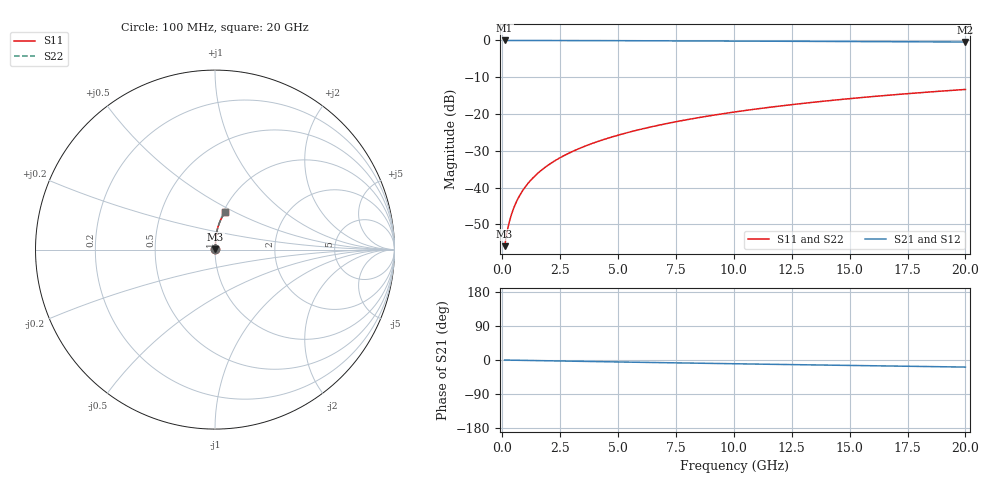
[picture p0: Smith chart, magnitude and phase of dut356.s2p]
! Touchstone file exported from HFSS 2024.1.0
!  File:  C:/UserFiles/LocalFiles/RDL_TSV_Batchsim/temp_RDL_top_356_1779608352.aedt
!  Generated:  03:41:27 PM May 24, 2026
!  Design:  RDL_top
!  Project:  temp_RDL_top_356_1779608352
!  Setup:  Setup1
!  Solution:  Sweep
! Variables:
!  dtsv = 10.80580581um
!  hbump = 3um
!  htsv = 97.62um
!  ldown = 100um
!  lrdl = 222.95um
!  p = 40
!  p1 = 50.23um
!  rhole = 1um
!  t = 450um
!  tdown = 3.915915916um
!  trdl = 4.23um
!  wdown = 15.38538539um
!  wrdl = 18.24um
# GHz S MA R 50.000000
! Terminal data exported
! Port[1] = Box2_T1
! Port[2] = Box2_T2
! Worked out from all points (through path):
!   200 points, 100 MHz to 20 GHz, reference 50 ohm
!   highest |S21| = -0.01 dB at 100 MHz (marker M1); lowest = -0.4 dB at 20 GHz (marker M2)
!   group delay of S21, straight-line fit = 2.58 ps
!   lowest |S11| = -55.9 dB at 100 MHz (marker M3), VSWR 1.00, Z = 50.1 + j0.108 ohm
!   |S11| at or under -10 dB: start of sweep to end of sweep
!   |S22| runs from -55.9 to -13.3 dB; largest |S21 - S12| = 1.9e-15
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0.1  0.001601 42.4  0.9988 -0.1  0.9988 -0.1  0.001601 42.4
! Gamma 0 0 0 0
! Port Impedance 50 0 50 0
0.2  0.002458 60.0  0.9988 -0.2  0.9988 -0.2  0.002458 60.0
0.3  0.0034 68.0  0.9987 -0.3  0.9987 -0.3  0.0034 68.0
0.4  0.004364 72.5  0.9986 -0.4  0.9986 -0.4  0.004364 72.5
0.5  0.005338 75.5  0.9986 -0.5  0.9986 -0.5  0.005338 75.5
0.6  0.006321 77.6  0.9985 -0.6  0.9985 -0.6  0.006321 77.6
0.8  0.008303 80.4  0.9984 -0.9  0.9984 -0.9  0.008303 80.4
1.1  0.01131 82.7  0.9982 -1.2  0.9982 -1.2  0.01131 82.7
1.5  0.01534 84.4  0.9979 -1.6  0.9979 -1.6  0.01534 84.4
1.8  0.01838 85.1  0.9976 -1.9  0.9976 -1.9  0.01838 85.1
2.1  0.02144 85.7  0.9973 -2.2  0.9973 -2.2  0.02144 85.7
2.7  0.02758 86.3  0.9965 -2.8  0.9965 -2.8  0.02758 86.3
3.5  0.03583 86.6  0.9952 -3.7  0.9952 -3.7  0.03583 86.6
4.2  0.04313 86.7  0.9939 -4.4  0.9939 -4.4  0.04313 86.7
5  0.05157 86.6  0.9922 -5.2  0.9922 -5.2  0.05157 86.6
5.9  0.06118 86.4  0.9902 -6.0  0.9902 -6.0  0.06118 86.4
6.8  0.07091 86.0  0.988 -6.9  0.988 -6.9  0.0709 86.0
8.4  0.08844 85.1  0.9839 -8.4  0.9839 -8.4  0.08844 85.1
10.1  0.1073 83.9  0.9794 -10.0  0.9794 -10.0  0.1073 83.9
13.4  0.1441 81.1  0.9704 -13.0  0.9704 -13.0  0.1441 81.1
16.7  0.1804 78.1  0.9611 -15.9  0.9611 -15.9  0.1804 78.1
20  0.2157 75.1  0.9513 -18.7  0.9513 -18.7  0.2157 75.1
